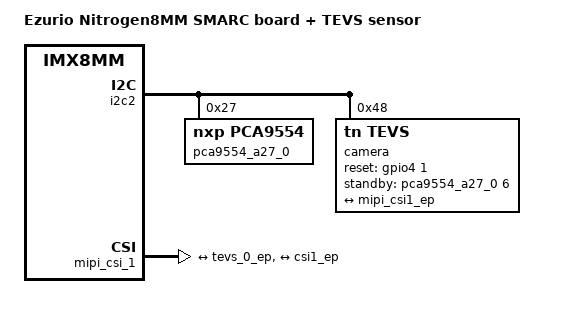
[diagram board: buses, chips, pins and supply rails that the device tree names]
// SPDX-License-Identifier: (GPL-2.0+ OR MIT)
/*
 * Copyright 2024 Ezurio LLC
 */

#include "imx8mm-nitrogen_smarc.dts"

/ {
	model = "Ezurio Nitrogen8MM SMARC board + TEVS sensor";
	compatible = "ezurio,imx8mm-nitrogen_smarc-tevs", "fsl,imx8mm";

};

&i2c2 {
	/delete-node/ camera@3c;

	pca9554_a27_0: pca9554@27 {
		compatible = "nxp,pca9554";
		pinctrl-names = "default";
		reg = <0x27>;
		gpio-controller;
		#gpio-cells = <2>;
		status = "okay";
		gpio-line-names = "EXPOSURE_TRIG_IN1", "FLASH_OUT1",
				"CAM_SHUTTER1", "XVS1",	"CSI1_PDB",
				"CSI1_INT", "INFO_TRIG_IN1", "CSI1_RST_N";
	};

	camera@48 {
		compatible = "tn,tevs";
		reg = <0x48>;
		reset-gpios = <&gpio4 1 GPIO_ACTIVE_HIGH>;
		standby-gpios = <&pca9554_a27_0 6 GPIO_ACTIVE_HIGH>;
		data-lanes = <4>;
		data-frequency = <600>;
		continuous-clock = <0>;
		status = "okay";

		port {
			tevs_0_ep: endpoint {
				remote-endpoint = <&mipi_csi1_ep>;
			};
		};
	};
};

&mipi_csi_1 {
	#address-cells = <1>;
	#size-cells = <0>;
	status = "okay";

	port {
		mipi_csi1_ep: endpoint {
			csis-hs-settle = <13>;
			csis-clk-settle = <2>;
			csis-wclk;
			data-lanes = <4>;
			remote-endpoint = <&tevs_0_ep>;
		};

		csi1_mipi_ep: endpoint@2 {
			remote-endpoint = <&csi1_ep>;
		};
	};
};
